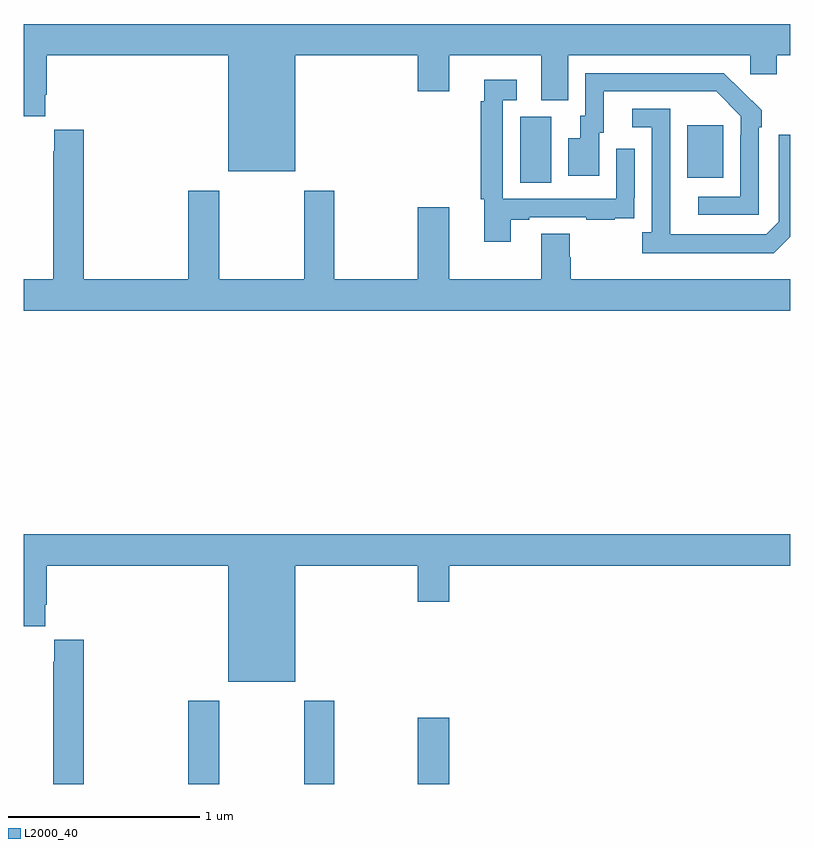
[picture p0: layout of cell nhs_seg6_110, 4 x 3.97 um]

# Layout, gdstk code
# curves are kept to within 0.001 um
import gdstk
lib = gdstk.Library(unit=1e-6, precision=1e-09)
def R(c, l, rs):  # rectangles x0, y0, x1, y1
    for r in rs: c.add(gdstk.rectangle(r[:2], r[2:], *l))
def P(c, l, *ps):  # polygons
    for p in ps: c.add(gdstk.Polygon(p, *l))
L2000_40 = (2000, 40)

nhs_seg6_110 = lib.new_cell('nhs_seg6_110')
R(nhs_seg6_110, L2000_40, [(115.859,975.5,116.019,975.934), (116.464,975.5,116.619,975.934), (117.056,975.5,117.22,975.847), (117.59,978.64,117.754,978.984), (118.463,978.665,118.651,978.94)])
P(nhs_seg6_110, L2000_40, [(116.416,979.304),(117.056,979.304),(117.056,979.116),(117.22,979.116),(117.22,979.304),(117.701,979.304),(117.701,979.069),(117.841,979.069),(117.841,979.304),(118.791,979.304),(118.791,979.206),(118.93,979.206),(118.93,979.304),(119,979.304),(119,979.468),(115,979.468),(115,978.987),(115.111,978.987),(115.111,979.099),(115.118,979.099),(115.118,979.304),(116.066,979.304),(116.066,978.698),(116.416,978.698)],
  [(118.836,978.929),(118.851,978.929),(118.851,979.017),(118.654,979.212),(117.93,979.212),(117.93,978.99),(117.905,978.99),(117.905,978.871),(117.842,978.871),(117.842,978.675),(118.003,978.675),(118.003,978.9),(118.027,978.9),(118.027,979.116),(118.615,979.116),(118.743,978.987),(118.743,978.887),(118.74,978.887),(118.74,978.567),(118.521,978.567),(118.521,978.471),(118.836,978.471)],
  [(117.541,978.447),(117.637,978.447),(117.637,978.459),(117.937,978.459),(117.937,978.447),(118.085,978.447),(118.085,978.453),(118.187,978.453),(118.187,978.562),(118.188,978.562),(118.188,978.817),(118.092,978.817),(118.092,978.555),(117.501,978.555),(117.501,979.071),(117.574,979.071),(117.574,979.177),(117.404,979.177),(117.404,979.064),(117.385,979.064),(117.385,978.552),(117.404,978.552),(117.404,978.33),(117.541,978.33)],
  [(119,978.356),(119,978.889),(118.941,978.889),(118.941,978.435),(118.875,978.369),(118.375,978.369),(118.374,979.026),(118.176,979.026),(118.176,978.93),(118.278,978.93),(118.278,978.382),(118.227,978.382),(118.227,978.272),(118.916,978.272)],
  [(119,978.136),(117.854,978.136),(117.854,978.249),(117.849,978.249),(117.849,978.374),(117.701,978.374),(117.701,978.136),(117.22,978.136),(117.22,978.511),(117.056,978.511),(117.056,978.136),(116.619,978.136),(116.619,978.598),(116.464,978.598),(116.464,978.136),(116.019,978.136),(116.019,978.598),(115.859,978.598),(115.859,978.136),(115.313,978.136),(115.313,978.916),(115.157,978.916),(115.157,978.803),(115.153,978.803),(115.153,978.136),(115,978.136),(115,977.972),(119,977.972)],
  [(116.416,976.64),(117.056,976.64),(117.056,976.452),(117.22,976.452),(117.22,976.64),(119,976.64),(119,976.804),(115,976.804),(115,976.323),(115.111,976.323),(115.111,976.435),(115.118,976.435),(115.118,976.64),(116.066,976.64),(116.066,976.034),(116.416,976.034)],
  [(115.313,976.252),(115.157,976.252),(115.157,976.139),(115.153,976.139),(115.153,975.5),(115.313,975.5)])

lib.write_gds('nhs_seg6_110.gds')
